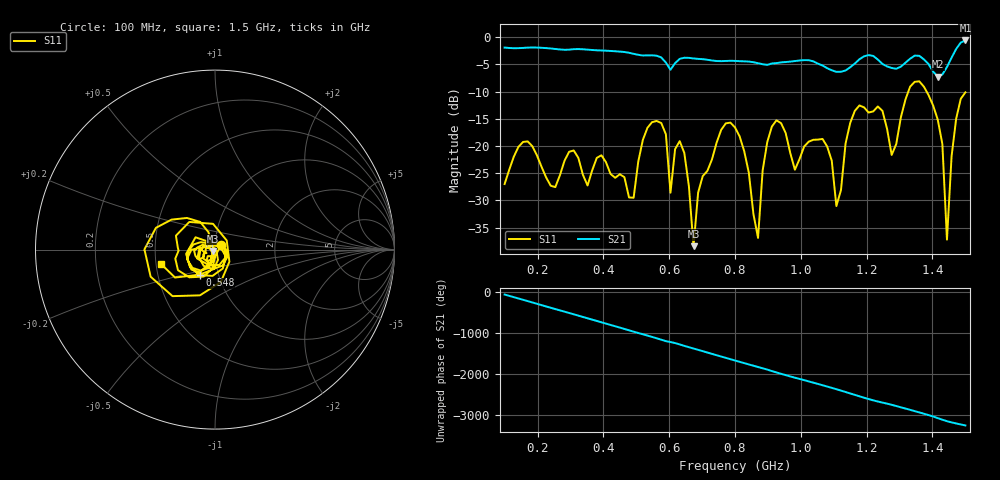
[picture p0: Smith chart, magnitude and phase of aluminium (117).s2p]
! NanoVNA-App
! Date: 2025-09-26 09:58:58
! Start: 100MHz Stop: 1,5GHz Points: 101
! S-Parameter data: F S11 S21 S12 S22
# Hz S RI R 50
!  Frequency  S11_Real  S11_Imag  S21_Real  S21_Imag  S12_Real  S12_Imag  S22_Real  S22_Imag
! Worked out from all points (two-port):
!   101 points, 100 MHz to 1.5 GHz, reference 50 ohm
!   highest |S21| = -0.60 dB at 1.5 GHz (marker M1); lowest = -7.3 dB at 1.416 GHz (marker M2)
!   |S21| within 3 dB of the highest: start of sweep to 570.5 MHz; 1.19 GHz to 1.223 GHz (33.61 MHz wide, 2.79 % of centre)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
!   lowest |S11| = -38.4 dB at 674 MHz (marker M3), VSWR 1.02, Z = 49.1 - j0.73 ohm
!   |S11| at or under -10 dB: start of sweep to 1.327 GHz; 1.382 GHz to end of sweep
!   S12 and S22 are empty: the file has one direction only
!   S11 on the Smith chart (normalised r, x): 100 MHz: 1.07, +0.06; 548 MHz: 0.81, -0.24; 1.5 GHz: 0.53, -0.09
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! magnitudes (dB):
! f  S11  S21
! 100 MHz  -27.0  -1.9
! 170 MHz  -19.1  -1.9
! 338 MHz  -25.3  -2.2
! 492 MHz  -29.5  -3.1
! 548 MHz  -15.6  -3.3
! 576 MHz  -15.8  -3.7
! 604 MHz  -28.6  -6.0
! 646 MHz  -21.3  -3.8
! 674 MHz  -38.4  -3.9
! 702 MHz  -25.5  -4.0
! 800 MHz  -16.6  -4.4
! 870 MHz  -36.9  -4.8
! 912 MHz  -16.4  -4.8
! 1.038 GHz  -18.8  -4.4
! 1.108 GHz  -31.0  -6.4
! 1.178 GHz  -12.5  -4.1
! 1.276 GHz  -21.6  -5.7
! 1.346 GHz  -8.2  -3.4
! 1.416 GHz  -15.1  -7.3
! 1.444 GHz  -37.2  -5.5
! 1.472 GHz  -15.0  -2.2
! 1.5 GHz  -10.1  -0.6
